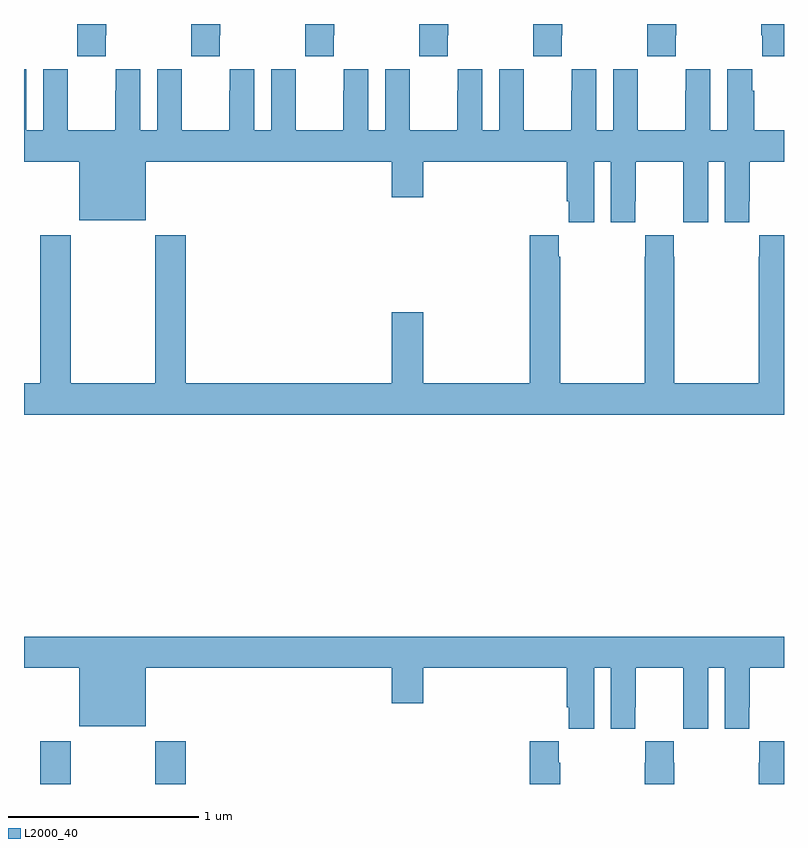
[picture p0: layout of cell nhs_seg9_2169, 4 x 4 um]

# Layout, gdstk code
import gdstk
lib = gdstk.Library(unit=1e-6, precision=1e-09)
def R(c, l, rs):  # rectangles x0, y0, x1, y1
    for r in rs: c.add(gdstk.rectangle(r[:2], r[2:], *l))
def P(c, l, *ps):  # polygons
    for p in ps: c.add(gdstk.Polygon(p, *l))
L2000_40 = (2000, 40)

nhs_seg9_2169 = lib.new_cell('nhs_seg9_2169')
R(nhs_seg9_2169, L2000_40, [(235.085,1170.5,235.245,1170.724), (235.69,1170.5,235.85,1170.724)])
P(nhs_seg9_2169, L2000_40, [(235.431,1174.441),(235.434,1174.441),(235.434,1174.5),(235.279,1174.5),(235.279,1174.441),(235.281,1174.441),(235.281,1174.329),(235.431,1174.329)],
  [(236.031,1174.441),(236.034,1174.441),(236.034,1174.5),(235.879,1174.5),(235.879,1174.441),(235.881,1174.441),(235.881,1174.329),(236.031,1174.329)],
  [(236.631,1174.441),(236.634,1174.441),(236.634,1174.5),(236.479,1174.5),(236.479,1174.441),(236.481,1174.441),(236.481,1174.329),(236.631,1174.329)],
  [(237.231,1174.441),(237.234,1174.441),(237.234,1174.5),(237.079,1174.5),(237.079,1174.441),(237.081,1174.441),(237.081,1174.329),(237.231,1174.329)],
  [(237.831,1174.441),(237.834,1174.441),(237.834,1174.5),(237.679,1174.5),(237.679,1174.441),(237.681,1174.441),(237.681,1174.329),(237.831,1174.329)],
  [(238.431,1174.441),(238.434,1174.441),(238.434,1174.5),(238.279,1174.5),(238.279,1174.441),(238.281,1174.441),(238.281,1174.329),(238.431,1174.329)],
  [(239,1174.5),(238.879,1174.5),(238.879,1174.441),(238.885,1174.441),(238.885,1174.329),(239,1174.329)],
  [(235.612,1174.261),(235.482,1174.261),(235.482,1174.148),(235.481,1174.148),(235.481,1173.94),(235.231,1173.94),(235.231,1174.148),(235.23,1174.148),(235.23,1174.261),(235.1,1174.261),(235.1,1173.94),(235.012,1173.94),(235.012,1174.261),(235,1174.261),(235,1173.776),(235.292,1173.776),(235.292,1173.467),(235.642,1173.467),(235.642,1173.776),(236.936,1173.776),(236.936,1173.588),(237.1,1173.588),(237.1,1173.776),(237.857,1173.776),(237.857,1173.568),(237.866,1173.568),(237.866,1173.456),(238,1173.456),(238,1173.776),(238.088,1173.776),(238.088,1173.456),(238.218,1173.456),(238.218,1173.568),(238.219,1173.568),(238.219,1173.776),(238.469,1173.776),(238.469,1173.568),(238.47,1173.568),(238.47,1173.456),(238.6,1173.456),(238.6,1173.776),(238.688,1173.776),(238.688,1173.456),(238.818,1173.456),(238.818,1173.568),(238.819,1173.568),(238.819,1173.776),(239,1173.776),(239,1173.94),(238.844,1173.94),(238.844,1174.148),(238.834,1174.148),(238.834,1174.261),(238.7,1174.261),(238.7,1173.94),(238.612,1173.94),(238.612,1174.261),(238.482,1174.261),(238.482,1174.148),(238.481,1174.148),(238.481,1173.94),(238.231,1173.94),(238.231,1174.148),(238.23,1174.148),(238.23,1174.261),(238.1,1174.261),(238.1,1173.94),(238.012,1173.94),(238.012,1174.261),(237.882,1174.261),(237.882,1174.148),(237.881,1174.148),(237.881,1173.94),(237.631,1173.94),(237.631,1174.148),(237.63,1174.148),(237.63,1174.261),(237.5,1174.261),(237.5,1173.94),(237.412,1173.94),(237.412,1174.261),(237.282,1174.261),(237.282,1174.148),(237.281,1174.148),(237.281,1173.94),(237.031,1173.94),(237.031,1174.148),(237.03,1174.148),(237.03,1174.261),(236.9,1174.261),(236.9,1173.94),(236.812,1173.94),(236.812,1174.261),(236.682,1174.261),(236.682,1174.148),(236.681,1174.148),(236.681,1173.94),(236.431,1173.94),(236.431,1174.148),(236.43,1174.148),(236.43,1174.261),(236.3,1174.261),(236.3,1173.94),(236.212,1173.94),(236.212,1174.261),(236.082,1174.261),(236.082,1174.148),(236.081,1174.148),(236.081,1173.94),(235.831,1173.94),(235.831,1174.148),(235.83,1174.148),(235.83,1174.261),(235.7,1174.261),(235.7,1173.94),(235.612,1173.94)],
  [(239,1173.388),(238.869,1173.388),(238.869,1173.275),(238.867,1173.275),(238.867,1172.608),(238.422,1172.608),(238.422,1173.275),(238.419,1173.275),(238.419,1173.388),(238.269,1173.388),(238.269,1173.275),(238.267,1173.275),(238.267,1172.608),(237.822,1172.608),(237.822,1173.275),(237.815,1173.275),(237.815,1173.388),(237.662,1173.388),(237.662,1172.608),(237.1,1172.608),(237.1,1172.983),(236.936,1172.983),(236.936,1172.608),(235.85,1172.608),(235.85,1173.388),(235.69,1173.388),(235.69,1172.608),(235.245,1172.608),(235.245,1173.388),(235.085,1173.388),(235.085,1172.608),(235,1172.608),(235,1172.444),(239,1172.444)],
  [(235,1171.112),(235.292,1171.112),(235.292,1170.803),(235.642,1170.803),(235.642,1171.112),(236.936,1171.112),(236.936,1170.924),(237.1,1170.924),(237.1,1171.112),(237.857,1171.112),(237.857,1170.904),(237.866,1170.904),(237.866,1170.792),(238,1170.792),(238,1171.112),(238.088,1171.112),(238.088,1170.792),(238.218,1170.792),(238.218,1170.904),(238.219,1170.904),(238.219,1171.112),(238.469,1171.112),(238.469,1170.904),(238.47,1170.904),(238.47,1170.792),(238.6,1170.792),(238.6,1171.112),(238.688,1171.112),(238.688,1170.792),(238.818,1170.792),(238.818,1170.904),(238.819,1170.904),(238.819,1171.112),(239,1171.112),(239,1171.276),(235,1171.276)],
  [(237.822,1170.611),(237.815,1170.611),(237.815,1170.724),(237.662,1170.724),(237.662,1170.5),(237.822,1170.5)],
  [(238.422,1170.611),(238.419,1170.611),(238.419,1170.724),(238.269,1170.724),(238.269,1170.611),(238.267,1170.611),(238.267,1170.5),(238.422,1170.5)],
  [(239,1170.724),(238.869,1170.724),(238.869,1170.611),(238.867,1170.611),(238.867,1170.5),(239,1170.5)])

lib.write_gds('nhs_seg9_2169.gds')
